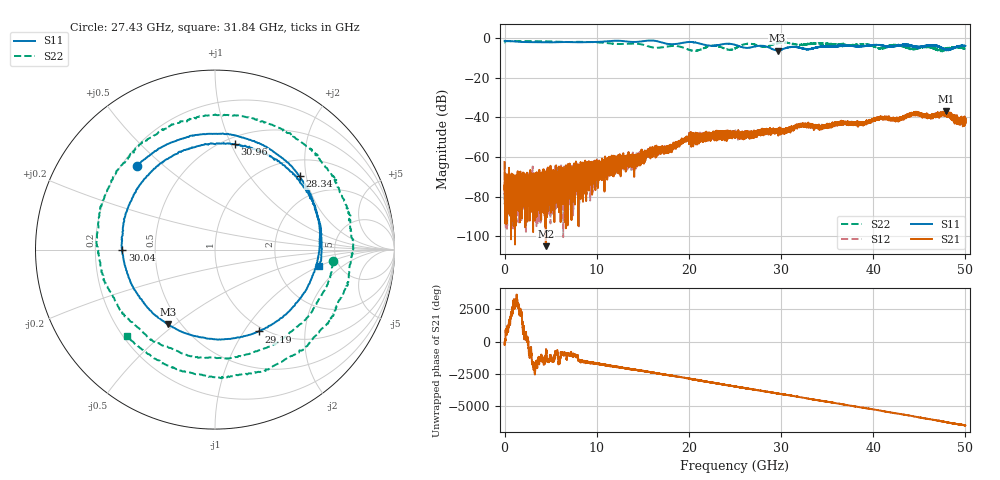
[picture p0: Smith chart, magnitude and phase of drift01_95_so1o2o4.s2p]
!Created with skrf (http://scikit-rf.org).
# Hz S RI R 50.0
!freq ReS11 ImS11 ReS21 ImS21 ReS12 ImS12 ReS22 ImS22
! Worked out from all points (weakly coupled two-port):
!   10001 points, 300 kHz to 50 GHz, reference 50 ohm
!   highest |S21| = -36.95 dB at 47.9 GHz (marker M1); lowest = -105.0 dB at 4.475 GHz (marker M2)
!   lowest |S11| = -6.2 dB at 29.62 GHz (marker M3), VSWR 2.92, Z = 21.6 - j23.6 ohm
!   |S11| at or under -10 dB: nowhere
!   |S22| runs from -6.7 to -1.4 dB; largest |S21 - S12| = 0.0036
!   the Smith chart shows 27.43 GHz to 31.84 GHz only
!   S11 on the Smith chart (normalised r, x): 27.43 GHz: 0.26, +0.41; 28.34 GHz: 1.37, +1.83; 29.19 GHz: 0.94, -1.17; 30.04 GHz: 0.32, +0.00; 30.96 GHz: 0.57, +1.04; 31.84 GHz: 3.55, -0.98
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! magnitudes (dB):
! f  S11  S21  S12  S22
! 300 kHz  -1.3  -62.5  -62.4  -2.1
! 285.3 MHz  -1.4  -72.2  -81.2  -1.4
! 4.475 GHz  -2.1  -105.0  -68.8  -1.6
! 6.56 GHz  -1.9  -68.4  -76.4  -1.9
! 8.335 GHz  -2.0  -75.0  -66.9  -1.8
! 16.67 GHz  -1.6  -54.9  -55.2  -4.8
! 20.18 GHz  -1.9  -50.1  -51.5  -6.0
! 22.62 GHz  -3.8  -48.2  -49.6  -3.8
! 25 GHz  -3.3  -48.8  -49.5  -5.1
! 27.43 GHz  -3.9  -47.1  -47.9  -3.6
! 28.34 GHz  -4.1  -47.1  -46.9  -4.2
! 29.19 GHz  -5.7  -46.9  -47.1  -3.0
! 29.62 GHz  -6.2  -46.3  -46.9  -2.5
! 30.04 GHz  -5.7  -48.1  -46.3  -2.3
! 30.96 GHz  -4.5  -45.8  -45.6  -2.4
! 31.84 GHz  -4.6  -44.9  -44.2  -3.2
! 33.34 GHz  -5.2  -43.6  -44.3  -2.7
! 41.67 GHz  -4.3  -40.3  -40.4  -4.1
! 44.52 GHz  -4.1  -38.0  -37.8  -5.5
! 46.49 GHz  -3.6  -38.5  -39.2  -5.4
! 47.9 GHz  -5.8  -37.0  -38.5  -5.2
! 50 GHz  -3.9  -42.4  -41.6  -5.3
